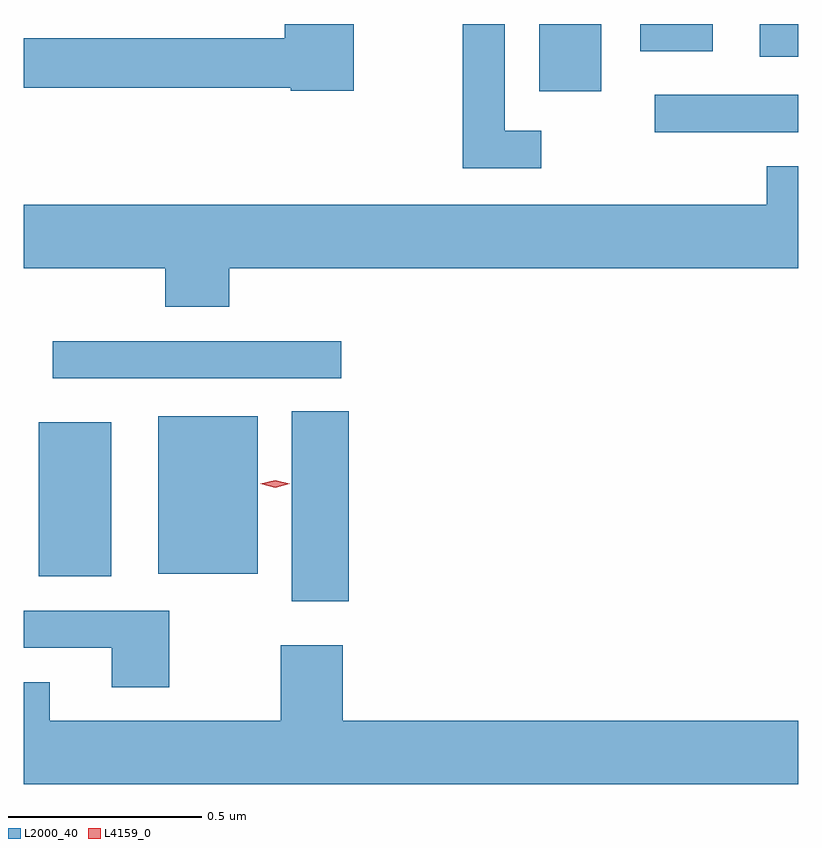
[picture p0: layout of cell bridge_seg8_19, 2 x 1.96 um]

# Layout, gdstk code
import gdstk
lib = gdstk.Library(unit=1e-6, precision=1e-09)
def R(c, l, rs):  # rectangles x0, y0, x1, y1
    for r in rs: c.add(gdstk.rectangle(r[:2], r[2:], *l))
def P(c, l, *ps):  # polygons
    for p in ps: c.add(gdstk.Polygon(p, *l))
L2000_40 = (2000, 40)
L4159_0 = (4159, 0)

bridge_seg8_19 = lib.new_cell('bridge_seg8_19')
R(bridge_seg8_19, L2000_40, [(903.722,1151.604,903.869,1152.095), (903.068,1151.669,903.256,1152.067), (903.377,1151.675,903.634,1152.082), (903.105,1152.18,903.85,1152.276), (904.659,1152.816,905.03,1152.912), (904.361,1152.921,904.522,1153.095), (904.931,1153.01,905.03,1153.095), (904.622,1153.025,904.81,1153.095)])
P(bridge_seg8_19, L2000_40, [(903.882,1153.095),(903.704,1153.095),(903.704,1153.058),(903.03,1153.058),(903.03,1152.93),(903.72,1152.93),(903.72,1152.922),(903.882,1152.922)],
  [(904.366,1152.819),(904.272,1152.819),(904.272,1153.095),(904.164,1153.095),(904.164,1152.723),(904.366,1152.723)],
  [(903.56,1152.464),(905.03,1152.464),(905.03,1152.727),(904.949,1152.727),(904.949,1152.628),(903.03,1152.628),(903.03,1152.464),(903.395,1152.464),(903.395,1152.365),(903.56,1152.365)],
  [(903.405,1151.58),(903.03,1151.58),(903.03,1151.484),(903.257,1151.484),(903.257,1151.382),(903.405,1151.382)],
  [(905.03,1151.296),(903.854,1151.296),(903.854,1151.491),(903.694,1151.491),(903.694,1151.296),(903.097,1151.296),(903.097,1151.395),(903.03,1151.395),(903.03,1151.132),(905.03,1151.132)])
P(bridge_seg8_19, L4159_0, [(903.679,1151.897),(903.641,1151.907),(903.641,1151.907),(903.641,1151.907),(903.679,1151.917),(903.717,1151.908),(903.717,1151.908),(903.717,1151.907)])

lib.write_gds('bridge_seg8_19.gds')
